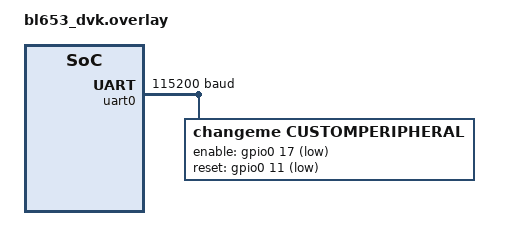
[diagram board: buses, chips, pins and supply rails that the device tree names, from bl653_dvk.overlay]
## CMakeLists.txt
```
# SPDX-License-Identifier: Apache-2.0

cmake_minimum_required(VERSION 3.20.0)
set(ZEPHYR_EXTRA_MODULES ${CMAKE_CURRENT_LIST_DIR})
find_package(Zephyr REQUIRED HINTS $ENV{ZEPHYR_BASE})
project(standalone_api)

#add_subdirectory(drivers)
list(APPEND SYSCALL_INCLUDE_DIRS ${CMAKE_CURRENT_SOURCE_DIR}/include)
zephyr_include_directories(include)
target_sources(app PRIVATE src/main.c)
set(BOARD_ROOT ${CMAKE_CURRENT_LIST_DIR})
```

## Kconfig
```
menu "Custom Drivers Configuration"
rsource "drivers/Kconfig"
endmenu

menu "Zephyr Kernel"
source "Kconfig.zephyr" ## missing this would result in build time error as well
endmenu

module = APP_MODULE
module-str = application_module
source "subsys/logging/Kconfig.template.log_config"
```

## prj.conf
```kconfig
# nothing here
CONFIG_GPIO=y
CONFIG_UART_NRFX=y
CONFIG_CUSTOMPERIPHERAL=y
CONFIG_APPLICATION_DEFINED_SYSCALL=y
```

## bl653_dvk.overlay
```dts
// To get started, press Ctrl+Space to bring up the completion menu and view the available nodes.

// You can also use the buttons in the sidebar to perform actions on nodes.
// Actions currently available include:

// * Enabling / disabling the node
// * Adding the bus to a bus
// * Removing the node
// * Connecting ADC channels

// For more help, browse the DeviceTree documentation at https://docs.zephyrproject.org/latest/guides/dts/index.html
// You can also visit the nRF DeviceTree extension documentation at https://nrfconnect.github.io/vscode-nrf-connect/devicetree/nrfdevicetree.html
/ {
    chosen {
        zephyr,uart-pipe = &uart0;
    };
    /delete-node/ leds;
    /delete-node/ buttons;
    /delete-node/ aliases;
};
&uart0 {
    compatible = "nordic,nrf-uarte";
	current-speed = <115200>;
	status = "okay";
	pinctrl-0 = <&uart0_default>;
	pinctrl-1 = <&uart0_sleep>;
	pinctrl-names = "default", "sleep";

    customperipheral:customperipheral {
        compatible   = "changeme,customperipheral";
        status = "okay"; 
        enable-gpios = < &gpio0 17 GPIO_ACTIVE_LOW >;
        reset-gpios  = < &gpio0 11 GPIO_ACTIVE_LOW >;
    };
};
```

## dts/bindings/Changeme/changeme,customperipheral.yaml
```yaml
description: |
  Lorem Ipsi Lorem ipsum dolor sit amet, consectetur adipiscing elit. 
  Nam dignissim et nibh ac ullamcorper. Quisque in elementum turpis. Sed vitae orci elit.

compatible: "changeme,customperipheral"

include: "uart-device.yaml"

properties:
  enable-gpios:
    required: true
    type: phandle-array
    description: |
      Lorem ipsum dolor sit amet, consectetur adipiscing elit. Nam dignissim et nibh ac ullamcorper. Quisque in elementum turpis. Sed vitae orci elit.
  reset-gpios:
    required: true
    type: phandle-array
    description: |
      Lorem ipsum dolor sit amet, consectetur adipiscing elit. Nam dignissim et nibh ac ullamcorper. Quisque in elementum turpis. Sed vitae orci elit.
```

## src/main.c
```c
/*
 * Copyright (c) 2012-2014 Wind River Systems, Inc.
 *
 * SPDX-License-Identifier: Apache-2.0
 */

#include <zephyr/zephyr.h>
#include <zephyr/drivers/customperipheral/customperipheral.h>
#include <zephyr/device.h>
#include <zephyr/devicetree.h>

#define CUSTOMPERIPHERAL_NODE DT_NODELABEL(customperipheral)

void main(void)
{
	printk("Hello World! %s\n", CONFIG_BOARD);

	static const struct device *customperipheral_dev = DEVICE_DT_GET(CUSTOMPERIPHERAL_NODE);
	
	while(1){
		customperipheral_enable(customperipheral_dev); 
		customperipheral_disable(customperipheral_dev); 
	}
}
```
